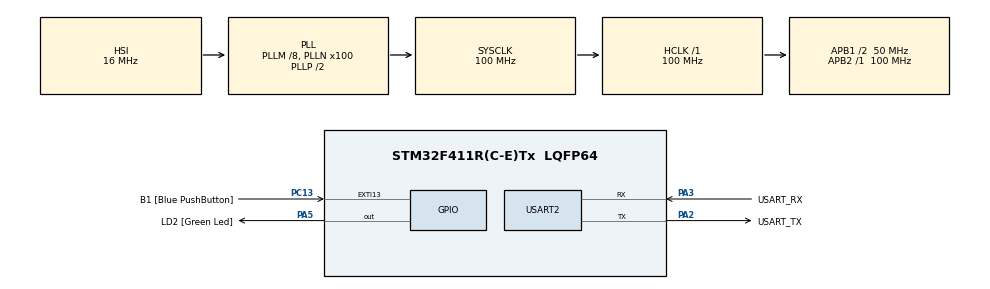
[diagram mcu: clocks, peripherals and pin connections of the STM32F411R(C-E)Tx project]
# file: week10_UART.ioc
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Mcu.Family=STM32F4
PC15-OSC32_OUT.Mode=LSE-External-Oscillator
RCC.CortexFreq_Value=100000000
PC13-ANTI_TAMP.GPIO_Label=B1 [Blue PushButton]
PA14.GPIO_Label=TCK
PH1\ -\ OSC_OUT.Mode=HSE-External-Clock-Source
RCC.APB1CLKDivider=RCC_HCLK_DIV2
PC14-OSC32_IN.Signal=RCC_OSC32_IN
NVIC.USART2_IRQn=true\:0\:0\:false\:false\:true\:true\:true
RCC.SYSCLKSource=RCC_SYSCLKSOURCE_PLLCLK
ProjectManager.StackSize=0x400
PA13.Signal=SYS_JTMS-SWDIO
PA3.Mode=Asynchronous
PH0\ -\ OSC_IN.Mode=HSE-External-Clock-Source
PH0\ -\ OSC_IN.Signal=RCC_OSC_IN
ProjectManager.TargetToolchain=STM32CubeIDE
RCC.HCLKFreq_Value=100000000
RCC.APB2TimFreq_Value=100000000
PC15-OSC32_OUT.Signal=RCC_OSC32_OUT
RCC.AHBFreq_Value=100000000
PA5.Signal=GPIO_Output
RCC.HSE_VALUE=8000000
PH1\ -\ OSC_OUT.Signal=RCC_OSC_OUT
board=NUCLEO-F411RE
PC13-ANTI_TAMP.Signal=GPXTI13
RCC.VCOOutputFreq_Value=200000000
USART2.OverSampling=UART_OVERSAMPLING_16
RCC.APB2Freq_Value=100000000
PC14-OSC32_IN.Mode=LSE-External-Oscillator
PA14.Mode=Serial_Wire
PA13.Mode=Serial_Wire
Mcu.Name=STM32F411R(C-E)Tx
PA2.Signal=USART2_TX
PA13.GPIO_Label=TMS
RCC.FLatency-AdvancedSettings=FLASH_LATENCY_3
RCC.48MHZClocksFreq_Value=50000000
PB3.Signal=SYS_JTDO-SWO
RCC.SYSCLKFreq_VALUE=100000000
Mcu.Package=LQFP64
PA5.GPIO_Label=LD2 [Green Led]
USART2.VirtualMode=VM_ASYNC
PC13-ANTI_TAMP.GPIO_ModeDefaultEXTI=GPIO_MODE_IT_FALLING
PA2.GPIO_Label=USART_TX
PA14.Signal=SYS_JTCK-SWCLK
ProjectManager.HeapSize=0x200
RCC.HSI_VALUE=16000000
NVIC.PriorityGroup=NVIC_PRIORITYGROUP_0
RCC.PLLM=8
RCC.PLLN=100
RCC.APB1TimFreq_Value=100000000
PA2.Mode=Asynchronous
RCC.APB1Freq_Value=50000000
PA3.GPIO_Label=USART_RX
PA3.Signal=USART2_RX
PB3.GPIO_Label=SWO

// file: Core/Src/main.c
/* USER CODE BEGIN Header */
/**
 ******************************************************************************
 * @file           : main.c
 * @brief          : Main program body
 ******************************************************************************
 * @attention
 *
 * <h2><center>&copy; Copyright (c) 2021 STMicroelectronics.
 * All rights reserved.</center></h2>
 *
 * This software component is licensed by ST under BSD 3-Clause license,
 * the "License"; You may not use this file except in compliance with the
 * License. You may obtain a copy of the License at:
 *                        opensource.org/licenses/BSD-3-Clause
 *
 ******************************************************************************
 */
/* USER CODE END Header */
#include "main.h"

/* USER CODE BEGIN Includes */
#include <stdio.h>
#include <string.h>
/* USER CODE END Includes */

UART_HandleTypeDef huart2;

/* USER CODE BEGIN PV */
uint64_t _micros = 0;
uint64_t Time_Stamp = 0;

char TxDataBuffer[100] =
{ 0 };
char RxDataBuffer[32] =
{ 0 };

uint32_t Period = 500;
uint8_t Hz = 1;
uint8_t LED_Enable = 1;
uint8_t LED_State = 1;
uint8_t Button_State = 0;
uint8_t Button_Prev_State = 0;

/* USER CODE END PV */

void SystemClock_Config(void);
static void MX_GPIO_Init(void);
static void MX_USART2_UART_Init(void);
/* USER CODE BEGIN PFP */
int16_t UARTRecieveIT();
uint64_t micros();
void Menu(int16_t input);
/* USER CODE END PFP */

int main(void)
{

  /* MCU Configuration--------------------------------------------------------*/

  /* Reset of all peripherals, Initializes the Flash interface and the Systick. */
  HAL_Init();

  /* Configure the system clock */
  SystemClock_Config();

  /* Initialize all configured peripherals */
  MX_GPIO_Init();
  MX_USART2_UART_Init();

  /* Infinite loop */
  /* USER CODE BEGIN WHILE */
	while (1)
	{

		HAL_UART_Receive_IT(&huart2,  (uint8_t*)RxDataBuffer, 32);

		/*if (inputchar != -1)
		{
			sprintf(TxDataBuffer, "%i\r\n", inputchar);
			HAL_UART_Transmit(&huart2, (uint8_t*)TxDataBuffer, strlen(TxDataBuffer), 1000);
		}*/

		if (LED_Enable == 1)
		{
			if ((HAL_GetTick() - Time_Stamp >= Period/Hz) && (Hz > 0))
			{
				Time_Stamp = HAL_GetTick();
				LED_State = !LED_State;

			}
		}
		else if (LED_Enable == 0)
		{
			LED_State = 0;
		}

			HAL_GPIO_WritePin(LD2_GPIO_Port, LD2_Pin, LED_State);
			Button_State = HAL_GPIO_ReadPin(GPIOC, GPIO_PIN_13);

			int16_t inputchar = UARTRecieveIT();
			Menu(inputchar);
			Button_Prev_State = Button_State;

    /* USER CODE END WHILE */

	}
}

void SystemClock_Config(void)
{
  RCC_OscInitTypeDef RCC_OscInitStruct = {0};
  RCC_ClkInitTypeDef RCC_ClkInitStruct = {0};

  /** Configure the main internal regulator output voltage
  */
  __HAL_RCC_PWR_CLK_ENABLE();
  __HAL_PWR_VOLTAGESCALING_CONFIG(PWR_REGULATOR_VOLTAGE_SCALE1);
  /** Initializes the RCC Oscillators according to the specified parameters
  * in the RCC_OscInitTypeDef structure.
  */
  RCC_OscInitStruct.OscillatorType = RCC_OSCILLATORTYPE_HSI;
  RCC_OscInitStruct.HSIState = RCC_HSI_ON;
  RCC_OscInitStruct.HSICalibrationValue = RCC_HSICALIBRATION_DEFAULT;
  RCC_OscInitStruct.PLL.PLLState = RCC_PLL_ON;
  RCC_OscInitStruct.PLL.PLLSource = RCC_PLLSOURCE_HSI;
  RCC_OscInitStruct.PLL.PLLM = 8;
  RCC_OscInitStruct.PLL.PLLN = 100;
  RCC_OscInitStruct.PLL.PLLP = RCC_PLLP_DIV2;
  RCC_OscInitStruct.PLL.PLLQ = 4;
  if (HAL_RCC_OscConfig(&RCC_OscInitStruct) != HAL_OK)
  {
    Error_Handler();
  }
  /** Initializes the CPU, AHB and APB buses clocks
  */
  RCC_ClkInitStruct.ClockType = RCC_CLOCKTYPE_HCLK|RCC_CLOCKTYPE_SYSCLK
                              |RCC_CLOCKTYPE_PCLK1|RCC_CLOCKTYPE_PCLK2;
  RCC_ClkInitStruct.SYSCLKSource = RCC_SYSCLKSOURCE_PLLCLK;
  RCC_ClkInitStruct.AHBCLKDivider = RCC_SYSCLK_DIV1;
  RCC_ClkInitStruct.APB1CLKDivider = RCC_HCLK_DIV2;
  RCC_ClkInitStruct.APB2CLKDivider = RCC_HCLK_DIV1;

  if (HAL_RCC_ClockConfig(&RCC_ClkInitStruct, FLASH_LATENCY_3) != HAL_OK)
  {
    Error_Handler();
  }
}

static void MX_USART2_UART_Init(void)
{

  huart2.Instance = USART2;
  huart2.Init.BaudRate = 115200;
  huart2.Init.WordLength = UART_WORDLENGTH_8B;
  huart2.Init.StopBits = UART_STOPBITS_1;
  huart2.Init.Parity = UART_PARITY_NONE;
  huart2.Init.Mode = UART_MODE_TX_RX;
  huart2.Init.HwFlowCtl = UART_HWCONTROL_NONE;
  huart2.Init.OverSampling = UART_OVERSAMPLING_16;
  if (HAL_UART_Init(&huart2) != HAL_OK)
  {
    Error_Handler();
  }

}

static void MX_GPIO_Init(void)
{
  GPIO_InitTypeDef GPIO_InitStruct = {0};

  /* GPIO Ports Clock Enable */
  __HAL_RCC_GPIOC_CLK_ENABLE();
  __HAL_RCC_GPIOH_CLK_ENABLE();
  __HAL_RCC_GPIOA_CLK_ENABLE();
  __HAL_RCC_GPIOB_CLK_ENABLE();

  /*Configure GPIO pin Output Level */
  HAL_GPIO_WritePin(LD2_GPIO_Port, LD2_Pin, GPIO_PIN_RESET);

  /*Configure GPIO pin : B1_Pin */
  GPIO_InitStruct.Pin = B1_Pin;
  GPIO_InitStruct.Mode = GPIO_MODE_IT_FALLING;
  GPIO_InitStruct.Pull = GPIO_NOPULL;
  HAL_GPIO_Init(B1_GPIO_Port, &GPIO_InitStruct);

  /*Configure GPIO pin : LD2_Pin */
  GPIO_InitStruct.Pin = LD2_Pin;
  GPIO_InitStruct.Mode = GPIO_MODE_OUTPUT_PP;
  GPIO_InitStruct.Pull = GPIO_NOPULL;
  GPIO_InitStruct.Speed = GPIO_SPEED_FREQ_LOW;
  HAL_GPIO_Init(LD2_GPIO_Port, &GPIO_InitStruct);

}

/* USER CODE BEGIN 4 */
int16_t UARTRecieveIT()
{
	static uint32_t dataPos =0;
	int16_t data=-1;
	if(huart2.RxXferSize - huart2.RxXferCount!=dataPos)
	{
		data=RxDataBuffer[dataPos];
		dataPos= (dataPos+1)%huart2.RxXferSize;
	}
	return data;
}
void Menu(int16_t input)
{
	typedef enum
	{
		Menu_Menu,
		Menu_Wait,
		LED_Menu,
		LED_Wait,
		Button_Menu,
		Button_Wait
	} Menu_State;

	static Menu_State State = Menu_Menu;

	if ((input <= 90) && (input >= 65))
	{
		input += 32;
	}

	switch (State)
	{
		case Menu_Menu:
			sprintf(TxDataBuffer, "--------------\r\nMenu\r\n  0 : LED Control\r\n  1 : Button Status\r\n--------------\r\n");
			HAL_UART_Transmit(&huart2, (uint8_t*)TxDataBuffer, strlen(TxDataBuffer), 1000);
			State = Menu_Wait;
			break;
		case Menu_Wait:
			switch (input)
			{
				case -1:
					break;
				case 48:
					State = LED_Menu;
					break;
				case 49:
					State = Button_Menu;
					break;
				default:
					sprintf(TxDataBuffer, "Wrong Input\r\n");
					HAL_UART_Transmit(&huart2, (uint8_t*)TxDataBuffer, strlen(TxDataBuffer), 1000);
					break;
			}
			break;
		case LED_Menu:
			sprintf(TxDataBuffer, "--------------\r\nLED Control\r\n  a : Speed Up\r\n  s : Speed Down\r\n  d : Enable/Disable\r\n  x : Back\r\n--------------\r\n");
			HAL_UART_Transmit(&huart2, (uint8_t*)TxDataBuffer, strlen(TxDataBuffer), 1000);
			State = LED_Wait;
			break;
		case LED_Wait:
			switch (input)
			{
				case -1:
					break;
				case 97:
					Hz += 1;
					sprintf(TxDataBuffer, "Frequency = %d Hz\r\n", Hz);
					HAL_UART_Transmit(&huart2, (uint8_t*)TxDataBuffer, strlen(TxDataBuffer), 1000);
					break;
				case 115:
					Hz -= 1;
					sprintf(TxDataBuffer, "Frequency = %d Hz\r\n", Hz);
					HAL_UART_Transmit(&huart2, (uint8_t*)TxDataBuffer, strlen(TxDataBuffer), 1000);
					break;
				case 100:
					LED_Enable = !LED_Enable;
					break;
				case 120:
					State = Menu_Menu;
					break;
				default:
					sprintf(TxDataBuffer, "Wrong Input\r\n");
					HAL_UART_Transmit(&huart2, (uint8_t*)TxDataBuffer, strlen(TxDataBuffer), 1000);
					break;
			}
			break;
		case Button_Menu:
			sprintf(TxDataBuffer, "--------------\r\nButton Status\r\n  x : Back\r\n--------------\r\n");
			HAL_UART_Transmit(&huart2, (uint8_t*)TxDataBuffer, strlen(TxDataBuffer), 1000);
			State = Button_Wait;
			break;
		case Button_Wait:
			if (Button_Prev_State != Button_State)
			{
				if (Button_State == 1)
				{
					sprintf(TxDataBuffer, "Button Unpressed\r\n");
				}
				else if (Button_State == 0)
				{
					sprintf(TxDataBuffer, "Button Pressed\r\n");
				}
				HAL_UART_Transmit(&huart2, (uint8_t*)TxDataBuffer, strlen(TxDataBuffer), 1000);
			}

			switch (input)
			{
				case -1:
					break;
				case 120:
					State = Menu_Menu;
					break;
				default:
					sprintf(TxDataBuffer, "Wrong Input\r\n");
					HAL_UART_Transmit(&huart2, (uint8_t*)TxDataBuffer, strlen(TxDataBuffer), 1000);
					break;
			}

			break;
		default:
			sprintf(TxDataBuffer, "Wrong Input\r\n");
			HAL_UART_Transmit(&huart2, (uint8_t*)TxDataBuffer, strlen(TxDataBuffer), 1000);
			break;
	}

}

/*void HAL_UART_RxCpltCallback(UART_HandleTypeDef *huart)
{
	sprintf(TxDataBuffer, "Received:[%s]\r\n", RxDataBuffer);
	HAL_UART_Transmit(&huart2, (uint8_t*)TxDataBuffer, strlen(TxDataBuffer), 1000);
}*/
/* USER CODE END 4 */

void Error_Handler(void)
{
	__disable_irq();
	while (1)
	{
	}
}

/************************ (C) COPYRIGHT STMicroelectronics *****END OF FILE****/
